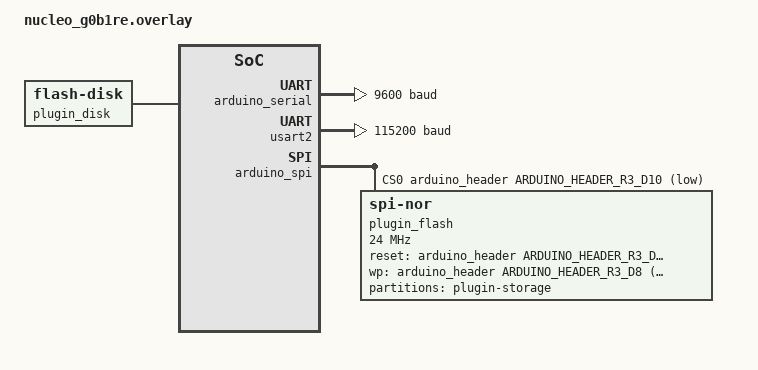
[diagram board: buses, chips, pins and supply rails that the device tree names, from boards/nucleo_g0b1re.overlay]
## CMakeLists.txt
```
# SPDX-License-Identifier: Apache-2.0
cmake_minimum_required(VERSION 3.20.0)

set(PLUGIN_MANAGER_DIR "${CMAKE_CURRENT_LIST_DIR}/../../../modules/lib/PluginManager" CACHE PATH
    "PluginManager source directory")
if(BOARD STREQUAL "qemu_cortex_m3" OR BOARD STREQUAL "mps2_an385")
    add_compile_definitions(PM_MANAGER_MAX_DISCOVERED=4)
endif()
if(NOT EXISTS "${PLUGIN_MANAGER_DIR}/zephyr/module.yml")
    message(FATAL_ERROR "PLUGIN_MANAGER_DIR is not a PluginManager source tree")
endif()
list(APPEND ZEPHYR_EXTRA_MODULES "${PLUGIN_MANAGER_DIR}")

find_package(Zephyr REQUIRED HINTS $ENV{ZEPHYR_BASE})
project(ef800_pluginmanager_test)

set(MEASUREMENT_PLUGIN_DIR "${CMAKE_CURRENT_LIST_DIR}/../plugins/measurement-plugin")
set(PLUGIN_BUILD_DIR "${CMAKE_CURRENT_BINARY_DIR}/measurement-plugins")
set(GENERATED_DIR "${CMAKE_CURRENT_BINARY_DIR}/generated")
set(ELTA3_PACKAGE "${PLUGIN_BUILD_DIR}/elta3_plugin.pmp")
set(FTS3XX_PACKAGE "${PLUGIN_BUILD_DIR}/fts3xx_plugin.pmp")
set(ELTA3_PACKAGE_C "${GENERATED_DIR}/elta3_package.c")
set(FTS3XX_PACKAGE_C "${GENERATED_DIR}/fts3xx_package.c")

get_filename_component(ARM_COMPILER_DIR "${CMAKE_C_COMPILER}" DIRECTORY)
get_filename_component(ARM_COMPILER_NAME "${CMAKE_C_COMPILER}" NAME)
string(REGEX REPLACE "-gcc$" "" ARM_COMPILER_STEM "${ARM_COMPILER_NAME}")
set(ARM_TOOLCHAIN_PREFIX "${ARM_COMPILER_DIR}/${ARM_COMPILER_STEM}")

add_custom_command(
    OUTPUT "${ELTA3_PACKAGE}" "${FTS3XX_PACKAGE}"
    COMMAND ${CMAKE_COMMAND} -S "${MEASUREMENT_PLUGIN_DIR}" -B "${PLUGIN_BUILD_DIR}"
        -DPM_ARM_TOOLCHAIN_PREFIX=${ARM_TOOLCHAIN_PREFIX}
        -DPLUGIN_MANAGER_DIR=${PLUGIN_MANAGER_DIR}
    COMMAND ${CMAKE_COMMAND} --build "${PLUGIN_BUILD_DIR}"
        --target elta3_plugin fts3xx_plugin
    DEPENDS
        "${MEASUREMENT_PLUGIN_DIR}/CMakeLists.txt"
        "${MEASUREMENT_PLUGIN_DIR}/src/elta3.c"
        "${MEASUREMENT_PLUGIN_DIR}/src/fts3xx.c"
        "${MEASUREMENT_PLUGIN_DIR}/src/protocol.c"
        "${MEASUREMENT_PLUGIN_DIR}/src/plugin_runtime.c"
        "${MEASUREMENT_PLUGIN_DIR}/src/descriptor.c"
        "${MEASUREMENT_PLUGIN_DIR}/tools/package_plugin.py"
        "${MEASUREMENT_PLUGIN_DIR}/tools/verify_package.py"
    VERBATIM)

add_custom_command(
    OUTPUT "${ELTA3_PACKAGE_C}"
    COMMAND ${Python3_EXECUTABLE}
        "${MEASUREMENT_PLUGIN_DIR}/tools/binary_to_c.py"
        "${ELTA3_PACKAGE}" "${ELTA3_PACKAGE_C}" --symbol elta3_package
    DEPENDS "${ELTA3_PACKAGE}"
        "${MEASUREMENT_PLUGIN_DIR}/tools/binary_to_c.py"
    VERBATIM)

add_custom_command(
    OUTPUT "${FTS3XX_PACKAGE_C}"
    COMMAND ${Python3_EXECUTABLE}
        "${MEASUREMENT_PLUGIN_DIR}/tools/binary_to_c.py"
        "${FTS3XX_PACKAGE}" "${FTS3XX_PACKAGE_C}" --symbol fts3xx_package
    DEPENDS "${FTS3XX_PACKAGE}"
        "${MEASUREMENT_PLUGIN_DIR}/tools/binary_to_c.py"
    VERBATIM)

target_include_directories(app BEFORE PRIVATE
    "${PLUGIN_MANAGER_DIR}/include"
    "${MEASUREMENT_PLUGIN_DIR}/include")
target_sources(app PRIVATE src/main.c src/host_policy.c src/calculation_plugin.c
    src/calculation_service.c
    "${ELTA3_PACKAGE_C}" "${FTS3XX_PACKAGE_C}")
```

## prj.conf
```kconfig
# SPDX-License-Identifier: Apache-2.0
CONFIG_MAIN_STACK_SIZE=8192
CONFIG_LOG=y
CONFIG_LOG_DEFAULT_LEVEL=3
CONFIG_SERIAL=y
CONFIG_CONSOLE=y
CONFIG_UART_CONSOLE=y
CONFIG_UART_USE_RUNTIME_CONFIGURE=y
CONFIG_SHELL=y
CONFIG_SHELL_BACKEND_SERIAL=y
CONFIG_SHELL_STACK_SIZE=3072
CONFIG_NEWLIB_LIBC=n
CONFIG_PRINTK=y
# Development smoke test: the loader executes plugin text from RAM. Production
# deployments must provide an executable plugin region and an MPU policy.
CONFIG_ARM_MPU=n
CONFIG_SPI=y
CONFIG_FLASH=y
CONFIG_SPI_NOR=y
CONFIG_FLASH_JESD216_API=y
CONFIG_DISK_ACCESS=y
CONFIG_DISK_DRIVER_FLASH=y
CONFIG_FILE_SYSTEM=y
CONFIG_FAT_FILESYSTEM_ELM=y
CONFIG_FS_FATFS_MAX_SS=4096
CONFIG_FS_FATFS_MIN_SS=4096
CONFIG_FS_FATFS_WINDOW_ALIGNMENT=4
CONFIG_FS_FATFS_MOUNT_MKFS=y
CONFIG_FS_FATFS_MKFS=y
CONFIG_PLUGIN_MANAGER=y
```

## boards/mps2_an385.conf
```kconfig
CONFIG_DISK_DRIVER_RAM=y
CONFIG_DISK_DRIVER_FLASH=n
CONFIG_SPI=n
CONFIG_SPI_NOR=n
CONFIG_FLASH=n
CONFIG_FLASH_JESD216_API=n
CONFIG_LOG=n
CONFIG_HEAP_MEM_POOL_SIZE=0
CONFIG_COMMON_LIBC_MALLOC_ARENA_SIZE=65536
CONFIG_SHELL_HISTORY=n
CONFIG_SHELL_CMD_BUFF_SIZE=256
```

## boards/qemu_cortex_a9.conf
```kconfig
CONFIG_DISK_DRIVER_RAM=y
CONFIG_DISK_DRIVER_FLASH=n
CONFIG_SPI=n
CONFIG_SPI_NOR=n
CONFIG_FLASH=n
CONFIG_FLASH_JESD216_API=n
CONFIG_HEAP_MEM_POOL_SIZE=0
CONFIG_COMMON_LIBC_MALLOC_ARENA_SIZE=65536
CONFIG_LOG=n
CONFIG_SHELL_HISTORY=n
CONFIG_SHELL_CMD_BUFF_SIZE=256
```

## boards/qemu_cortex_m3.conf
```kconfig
CONFIG_DISK_DRIVER_RAM=y
CONFIG_DISK_DRIVER_FLASH=n
CONFIG_LOG=n
CONFIG_HEAP_MEM_POOL_SIZE=0
CONFIG_COMMON_LIBC_MALLOC_ARENA_SIZE=16384
CONFIG_MAIN_STACK_SIZE=4096
CONFIG_SHELL_STACK_SIZE=1536
CONFIG_SHELL_HISTORY=n
CONFIG_SHELL_CMD_BUFF_SIZE=128
CONFIG_SPI=n
CONFIG_SPI_NOR=n
CONFIG_FLASH=n
CONFIG_FLASH_JESD216_API=n
```

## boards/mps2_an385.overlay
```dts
/ {
    aliases {
        plugin-uart = &uart1;
    };

    chosen {
        zephyr,console = &uart0;
        zephyr,shell-uart = &uart0;
    };

    plugin_disk: plugin_disk {
        compatible = "zephyr,ram-disk";
        disk-name = "PM";
        sector-size = <4096>;
        sector-count = <128>;
        status = "okay";
    };
};

&uart0 {
    current-speed = <115200>;
    status = "okay";
};

&uart1 {
    current-speed = <9600>;
    status = "okay";
};
```

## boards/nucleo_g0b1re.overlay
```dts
/ {
    chosen {
        zephyr,console = &usart2;
        zephyr,shell-uart = &usart2;
    };

    aliases {
        plugin-flash = &plugin_flash;
        plugin-uart = &arduino_serial;
    };
};

&arduino_serial {
    current-speed = <9600>;
    status = "okay";
};

&usart2 {
    current-speed = <115200>;
    status = "okay";
};

&arduino_spi {
    status = "okay";
    cs-gpios = <&arduino_header ARDUINO_HEADER_R3_D10 GPIO_ACTIVE_LOW>;

    plugin_flash: flash@0 {
        compatible = "jedec,spi-nor";
        reg = <0>;
        spi-max-frequency = <24000000>;
        size = <DT_SIZE_M(64)>;
        jedec-id = [ef 40 16];
        reset-gpios = <&arduino_header ARDUINO_HEADER_R3_D9 GPIO_ACTIVE_LOW>;
        wp-gpios = <&arduino_header ARDUINO_HEADER_R3_D8 GPIO_ACTIVE_LOW>;
        status = "okay";

        partitions {
            compatible = "fixed-partitions";
            #address-cells = <1>;
            #size-cells = <1>;

            plugin_storage_partition: partition@0 {
                label = "plugin-storage";
                reg = <0x00000000 DT_SIZE_M(8)>;
            };
        };
    };
};

/ {
    plugin_disk: plugin_disk {
        compatible = "zephyr,flash-disk";
        partition = <&plugin_storage_partition>;
        disk-name = "PM";
        /* Existing FAT BPB uses 4096-byte logical sectors; do not reformat. */
        sector-size = <4096>;
        /* The Zephyr NOR driver reports a 64 KiB erase page for this part. */
        cache-size = <65536>;
        status = "okay";
    };
};
```

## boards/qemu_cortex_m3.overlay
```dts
/ {
    aliases {
        plugin-uart = &uart1;
    };

    chosen {
        zephyr,console = &uart0;
        zephyr,shell-uart = &uart0;
    };

    plugin_disk: plugin_disk {
        compatible = "zephyr,ram-disk";
        disk-name = "PM";
        sector-size = <4096>;
        /* Keep the RAM disk within the LM3S6965 QEMU model's 64 KiB SRAM. */
        sector-count = <2>;
        status = "okay";
    };
};

&uart0 {
    current-speed = <115200>;
    status = "okay";
};

&uart1 {
    current-speed = <9600>;
    status = "okay";
};
```

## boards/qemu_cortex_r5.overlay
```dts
/ {
    aliases {
        plugin-uart = &uart0;
    };

    chosen {
        zephyr,console = &uart0;
        zephyr,shell-uart = &uart0;
    };

    plugin_disk: plugin_disk {
        compatible = "zephyr,ram-disk";
        disk-name = "PM";
        sector-size = <4096>;
        sector-count = <128>;
        status = "okay";
    };
};

&uart0 {
    current-speed = <115200>;
    status = "okay";
};
```

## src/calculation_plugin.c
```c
/* SPDX-License-Identifier: Apache-2.0 */
#include "calculation_plugin.h"

#include <errno.h>
#include <limits.h>
#include <stdbool.h>
#include <stdio.h>

#include "ef800_plugin_ids.h"

static struct ef800_calculation_instance calculation_instance;
static bool active;

/* Prototype format: signed millimetre readings, one per line. The host
 * controls the snapshot and any file write; the plugin sees only buffers. */
static int transform(void *instance, const char *snapshot, size_t length,
                     int32_t offset_mm, char *output, size_t capacity,
                     size_t *written)
{
    size_t pos = 0u;
    size_t used = 0u;

    if (!active || instance != &calculation_instance || snapshot == NULL ||
        output == NULL || written == NULL) return -EINVAL;
    *written = 0u;
    while (pos < length) {
        int64_t value = 0;
        int sign = 1;
        bool digits = false;
        int count;

        if (snapshot[pos] == '-') {
            sign = -1;
            ++pos;
        }
        while (pos < length && snapshot[pos] >= '0' && snapshot[pos] <= '9') {
            digits = true;
            value = value * 10 + snapshot[pos++] - '0';
            if (value > (int64_t)INT32_MAX + 1) return -ERANGE;
        }
        if (!digits || (pos < length && snapshot[pos] != '\n')) return -EINVAL;
        if (pos < length) ++pos;
        value = value * sign + offset_mm;
        if (value < INT32_MIN || value > INT32_MAX) return -ERANGE;
        if (used >= capacity) return -EFBIG;
        count = snprintf(output + used, capacity - used, "%ld\n", (long)value);
        if (count < 0 || (size_t)count >= capacity - used) return -EFBIG;
        used += (size_t)count;
    }
    *written = used;
    return 0;
}

static const struct ef800_calculation_api api = {
    .abi_version = 1u,
    .struct_size = sizeof(struct ef800_calculation_api),
    .transform = transform,
};

static int create(const struct pm_service_table *services, void **instance)
{
    (void)services;
    if (instance == NULL) return PM_EINVAL;
    if (active) return PM_EBUSY;
    calculation_instance.api = &api;
    active = true;
    *instance = &calculation_instance;
    return PM_OK;
}

static int destroy(void *instance)
{
    if (!active || instance != &calculation_instance) return PM_EINVAL;
    active = false;
    calculation_instance.api = NULL;
    return PM_OK;
}

const struct pm_plugin_descriptor ef800_offset_calculation_descriptor = {
    .framework_abi_version = PM_FRAMEWORK_ABI_VERSION,
    .descriptor_size = sizeof(struct pm_plugin_descriptor),
    .application_id = {{EF800_APPLICATION_UUID_BYTES}},
    .interface_id = {{EF800_CALCULATION_INTERFACE_UUID_BYTES}},
    .interface_version = 1u,
    .plugin_id = EF800_CALCULATION_PLUGIN_ID,
    .name = "Offset calculation",
    .version = "1.0.0",
    .create = create,
    .destroy = destroy,
};
```

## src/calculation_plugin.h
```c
/* SPDX-License-Identifier: Apache-2.0 */
#ifndef EF800_CALCULATION_PLUGIN_H
#define EF800_CALCULATION_PLUGIN_H

#include <stddef.h>
#include <stdint.h>

#include "plugin_manager/plugin_abi.h"

#define EF800_CALCULATION_INTERFACE_UUID_BYTES \
    0x65u, 0x66u, 0x38u, 0x30u, 0x30u, 0x2du, 0x63u, 0x61u, \
    0x6cu, 0x63u, 0x2du, 0x76u, 0x31u, 0x00u, 0x00u, 0x01u
#define EF800_CALCULATION_PLUGIN_ID 100u

struct ef800_calculation_api {
    uint32_t abi_version;
    uint32_t struct_size;
    int (*transform)(void *instance, const char *snapshot, size_t length,
                     int32_t offset_mm, char *output, size_t capacity,
                     size_t *written);
};

struct ef800_calculation_instance {
    const struct ef800_calculation_api *api;
};

extern const struct pm_plugin_descriptor ef800_offset_calculation_descriptor;

#endif
```

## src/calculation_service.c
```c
/* SPDX-License-Identifier: Apache-2.0 */
#include "calculation_service.h"

#include <errno.h>

int ef800_calculation_service_run(
    const struct ef800_calculation_service *service, int32_t offset_mm,
    char *snapshot, size_t snapshot_capacity, char *output,
    size_t output_capacity, size_t *output_length)
{
    size_t snapshot_length = 0u;
    int status;

    if (service == NULL || service->snapshot == NULL ||
        service->transform == NULL || snapshot == NULL || output == NULL ||
        output_length == NULL || snapshot_capacity == 0u ||
        output_capacity == 0u) {
        return -EINVAL;
    }
    *output_length = 0u;
    status = service->snapshot(service->context, snapshot, snapshot_capacity,
                               &snapshot_length);
    if (status != 0) {
        return status;
    }
    if (snapshot_length > snapshot_capacity) {
        return -EOVERFLOW;
    }
    return service->transform(service->context, snapshot, snapshot_length,
                              offset_mm, output, output_capacity,
                              output_length);
}
```

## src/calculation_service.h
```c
/* SPDX-License-Identifier: Apache-2.0 */
#ifndef EF800_CALCULATION_SERVICE_H
#define EF800_CALCULATION_SERVICE_H

#include <stddef.h>
#include <stdint.h>

typedef int (*ef800_workspace_snapshot_fn)(void *context, char *destination,
                                           size_t capacity, size_t *length);
typedef int (*ef800_calculation_transform_fn)(void *context,
                                              const char *snapshot,
                                              size_t snapshot_length,
                                              int32_t offset_mm, char *output,
                                              size_t capacity, size_t *length);

struct ef800_calculation_service {
    ef800_workspace_snapshot_fn snapshot;
    ef800_calculation_transform_fn transform;
    void *context;
};

int ef800_calculation_service_run(
    const struct ef800_calculation_service *service, int32_t offset_mm,
    char *snapshot, size_t snapshot_capacity, char *output,
    size_t output_capacity, size_t *output_length);

#endif
```

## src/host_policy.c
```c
/* SPDX-License-Identifier: Apache-2.0 */
#include "host_policy.h"

#include <errno.h>

bool host_port_compatible(uint8_t port_id, bool needs_flow_control)
{
    (void)needs_flow_control;
    return port_id == 2u;
}

int host_assignment_check(uint8_t port_id, uint8_t other_port_id)
{
    if (port_id != 0u && !host_port_compatible(port_id, false)) return -EINVAL;
    return port_id != 0u && port_id == other_port_id ? -EBUSY : 0;
}

enum host_menu_state host_measurement_state(const struct host_binding *binding)
{
    if (binding == NULL || binding->port_id == 0u) {
        return HOST_MENU_UNASSIGNED;
    }
    if (!binding->package_available) {
        return HOST_MENU_MISSING;
    }
    return binding->route_ready ? HOST_MENU_READY : HOST_MENU_UNAVAILABLE;
}

bool host_action_allowed(const struct host_binding *binding, uint32_t selected_id)
{
    return binding != NULL && binding->plugin_id == selected_id &&
           host_measurement_state(binding) == HOST_MENU_READY;
}
```

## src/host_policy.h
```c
/* SPDX-License-Identifier: Apache-2.0 */
#ifndef EF800_NUCLEO_HOST_POLICY_H
#define EF800_NUCLEO_HOST_POLICY_H

#include <stdbool.h>
#include <stddef.h>
#include <stdint.h>

enum host_menu_state {
    HOST_MENU_UNASSIGNED,
    HOST_MENU_MISSING,
    HOST_MENU_UNAVAILABLE,
    HOST_MENU_READY,
};

struct host_binding {
    uint32_t plugin_id;
    uint8_t port_id;
    bool route_ready;
    bool package_available;
};

/* The reference host exposes USART1 on port 2 with optional RTS/CTS. */
bool host_port_compatible(uint8_t port_id, bool needs_flow_control);
int host_assignment_check(uint8_t port_id, uint8_t other_port_id);
enum host_menu_state host_measurement_state(const struct host_binding *binding);
bool host_action_allowed(const struct host_binding *binding, uint32_t selected_id);

#endif
```
